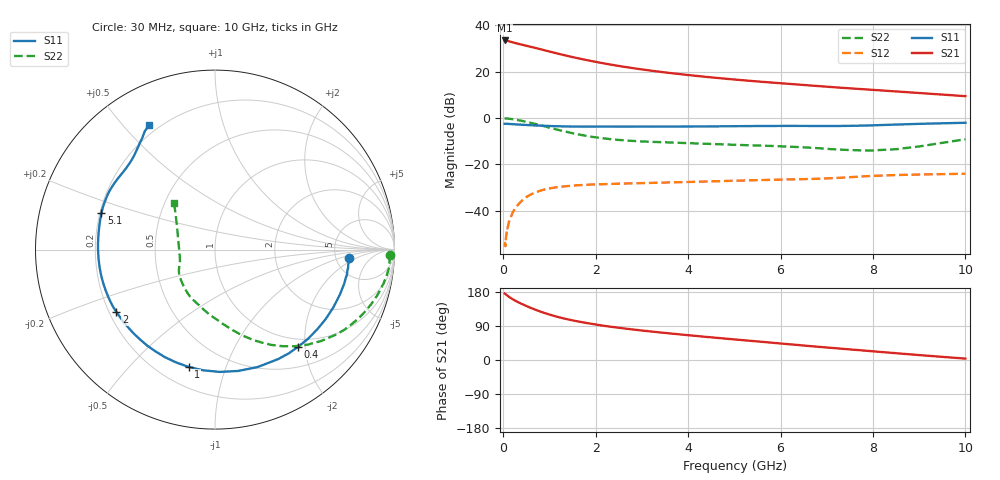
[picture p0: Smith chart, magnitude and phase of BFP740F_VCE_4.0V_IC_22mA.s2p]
! Infineon Technologies  Discrete & RF Semiconductors
! BFP740F
! VCE =  4.0 V,  IC =  22 mA
! Common Emitter S-Parameters:  Oct 2012
# GHz  S  MA  R  50
!  f  S11  S21  S12  S22
! GHz  MAG  ANG  MAG  ANG  MAG  ANG  MAG  ANG
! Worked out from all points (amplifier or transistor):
!   99 points, 30 MHz to 10 GHz, reference 50 ohm
!   highest |S21| = 33.5 dB at 30 MHz (marker M1)
!   |S21| within 3 dB of that: start of sweep to 647.5 MHz
!   unconditionally stable (mu >= 1): 5.761 GHz to end of sweep
!   at 350 MHz: K = 0.18, MSG = 34.4 dB, |S12| = -36.8 dB
!   at 3.5 GHz: K = 0.70, MSG = 23.8 dB, |S12| = -27.9 dB
!   at 10 GHz: K = 1.19, MAG = 14.1 dB, |S12| = -24.1 dB
!   S11 on the Smith chart (normalised r, x): 30 MHz: 6.62, -1.45; 400 MHz: 0.85, -1.86; 1 GHz: 0.32, -0.75; 2 GHz: 0.23, -0.27; 5.1 GHz: 0.21, +0.15; 10 GHz: 0.16, +0.59
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0.03  0.7483 -3.7  47.14 175.5  0.0017 85.2  0.9728 -1.8
0.07  0.7467 -9.2  46.63 171.8  0.003 75.9  0.9743 -5.4
0.13  0.741 -17.2  44.95 166.2  0.0059 80.8  0.9607 -10.4
0.2  0.7338 -26.0  42.99 160.7  0.0088 72.9  0.9401 -15.6
0.3  0.7223 -38.0  40.51 154.0  0.0126 69.3  0.905 -22.4
0.4  0.7124 -49.4  38.33 148.0  0.0162 65.5  0.8658 -28.9
0.6  0.6962 -70.0  34.28 137.3  0.0223 56.8  0.7822 -40.5
0.7  0.6884 -79.2  32.4 132.5  0.0248 52.8  0.7397 -45.7
0.8  0.682 -87.8  30.59 127.9  0.0268 49.5  0.697 -50.6
1  0.67 -102.7  27.21 119.9  0.0299 43.2  0.6177 -59.3
1.1  0.6648 -109.1  25.68 116.3  0.0313 41.0  0.5815 -63.1
1.3  0.657 -120.5  22.94 110.0  0.0331 36.9  0.519 -70.2
1.5  0.6518 -129.9  20.62 104.6  0.0344 34.0  0.4681 -76.4
1.7  0.6496 -137.9  18.67 99.9  0.0355 31.5  0.4265 -82.2
2  0.6503 -147.8  16.29 93.7  0.0366 28.6  0.3815 -90.4
2.6  0.6502 -162.4  12.8 83.5  0.0382 25.5  0.3292 -103.9
3.4  0.6508 -176.0  9.906 72.6  0.04 23.9  0.3001 -116.2
4.2  0.6542 173.0  8.053 63.2  0.0419 23.5  0.2809 -124.7
5.1  0.6648 162.2  6.626 53.2  0.0443 23.3  0.2611 -134.3
6.7  0.6705 144.5  4.974 36.1  0.0482 23.7  0.2257 -152.5
8.5  0.7191 126.2  3.736 17.9  0.0584 21.8  0.2113 165.7
10  0.786 117.8  2.953 3.7  0.0622 16.8  0.3455 131.3
